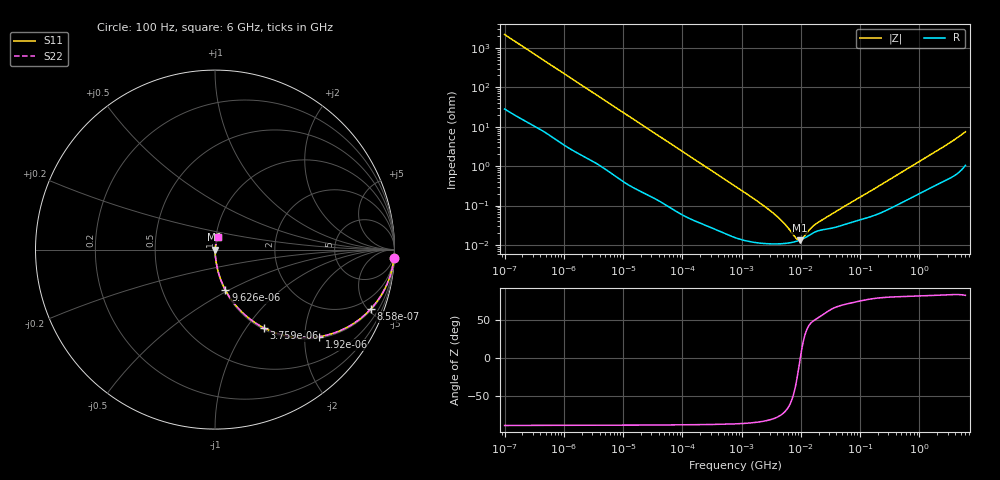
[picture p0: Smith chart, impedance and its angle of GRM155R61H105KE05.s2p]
!Murata Part Number: GRM155R61H105KE05
!These Parameters are Measured in Series Mode Connection
!Data Generated on Mar 30, 2021
!  o--ll--o
!Port1  Port2
!  o------o
!Operation Temp=25[degC], DC Bias Voltage=0[V]
!Freq. Start=100[Hz] Stop=6[GHz] 401[Steps]
# Hz S RI R 50
!Freq.(Hz) S11(Real) S11(Imag) S21(Real) S21(Imag) S12(Real) S12(Imag) S22(Real) S22(Imag)
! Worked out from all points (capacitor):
!   401 points, 100 Hz to 6 GHz, reference 50 ohm
!   read as one part in series: C = 722 nF near 109 Hz
!   lowest |Z| = 13.2 mohm at 9.506 MHz (marker M1)
!   series resonance near 9.817 MHz, so ESL is about 360 pH
!   S11 on the Smith chart (normalised r, x): 100 Hz: 2, -44; 858 Hz: 1.08, -5.23; 1.92 kHz: 1.04, -2.35; 3.759 kHz: 1.02, -1.21; 9.626 kHz: 1.01, -0.48; 6 GHz: 1.02, +0.15
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100  0.9974 -0.0454  0.00265 0.0454  0.00265 0.0454  0.9974 -0.0454
320  0.9776 -0.1408  0.0224 0.1408  0.0224 0.1408  0.9776 -0.1408
858  0.8685 -0.3303  0.1315 0.3303  0.1315 0.3303  0.8685 -0.3303
1283  0.7511 -0.4246  0.2489 0.4246  0.2489 0.4246  0.7511 -0.4246
1920  0.579 -0.4855  0.421 0.4855  0.421 0.4855  0.579 -0.4855
2008  0.5576 -0.4884  0.4424 0.4884  0.4424 0.4884  0.5576 -0.4884
3759  0.2721 -0.436  0.7279 0.436  0.7279 0.436  0.2721 -0.436
5882  0.1361 -0.3339  0.8639 0.3339  0.8639 0.3339  0.1361 -0.3339
9626  0.0576 -0.2244  0.9424 0.2244  0.9424 0.2244  0.0576 -0.2244
18841  0.0171 -0.1205  0.9829 0.1205  0.9829 0.1205  0.0171 -0.1205
40335  0.00465 -0.0577  0.9954 0.0577  0.9954 0.0577  0.00465 -0.0577
774597  0.000163 -0.00314  0.9998 0.00314  0.9998 0.00314  0.000163 -0.00314
3394479  0.000107 -0.00064  0.9999 0.00064  0.9999 0.00064  0.000107 -0.00064
5311619  0.000109 -0.000328  0.9999 0.000328  0.9999 0.000328  0.000109 -0.000328
8311524  0.000123 -8.3e-05  0.9999 8.3e-05  0.9999 8.3e-05  0.000123 -8.3e-05
9506416  0.000131 -1.57e-05  0.9999 1.57e-05  0.9999 1.57e-05  0.000131 -1.57e-05
1.087309e7  0.000143 4.99e-05  0.9999 -4.99e-05  0.9999 -4.99e-05  0.000143 4.99e-05
1.555665e7  0.000195 0.00021  0.9998 -0.00021  0.9998 -0.00021  0.000195 0.00021
4.35672e7  0.000296 0.000722  0.9997 -0.000722  0.9997 -0.000722  0.000296 0.000722
3.124326e8  0.000839 0.00445  0.9992 -0.00445  0.9992 -0.00445  0.000839 0.00445
2.34314e9  0.00458 0.0279  0.9954 -0.0279  0.9954 -0.0279  0.00458 0.0279
6e9  0.0157 0.0721  0.9843 -0.0721  0.9843 -0.0721  0.0157 0.0721
